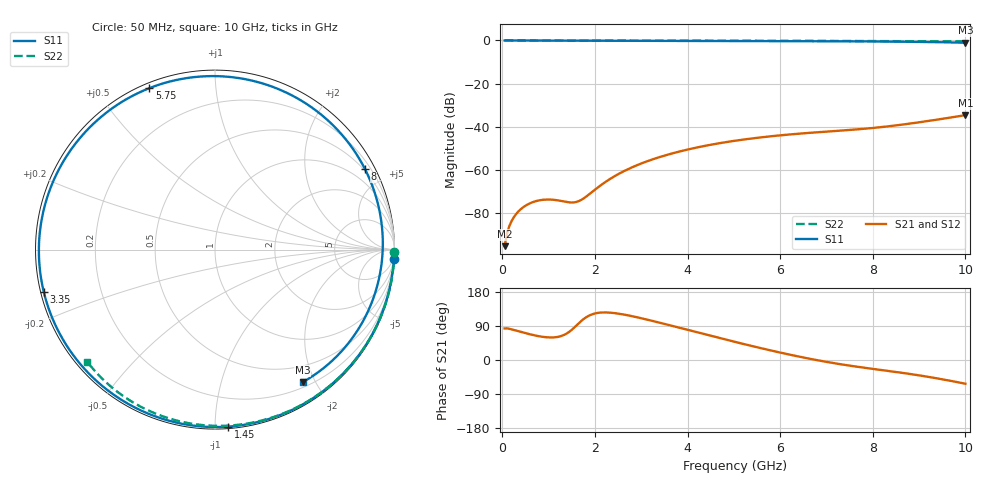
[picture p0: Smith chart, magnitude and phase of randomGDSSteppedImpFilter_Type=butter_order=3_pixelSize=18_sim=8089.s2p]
! freq	dB(S11)	phase(S11)	dB(S12)	phase(S12)
!  dB(S21)	phase(S21)	dB(S22)	phase(S22)
!S-par simulation data
#  GHz  S  DB  R 50
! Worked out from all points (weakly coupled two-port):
!   200 points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, 50 MHz to 10 GHz, reference 50 ohm
!   highest |S21| = -34.66 dB at 10 GHz (marker M1); lowest = -95.5 dB at 50 MHz (marker M2)
!   lowest |S11| = -1.1 dB at 10 GHz (marker M3), VSWR 16.46, Z = 13.4 - j91.4 ohm
!   |S11| at or under -10 dB: nowhere
!   |S22| runs from -0.5 to 0.0 dB; largest |S21 - S12| = 0
!   S11 on the Smith chart (normalised r, x): 50 MHz: 1, -37; 1.45 GHz: 0.01, -1.08; 3.35 GHz: 0.01, -0.12; 5.75 GHz: 0.02, +0.67; 8 GHz: 0.44, +3.94; 10 GHz: 0.27, -1.83
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0.05  -0.01 -3.1  -95.47 83.4  -95.47 83.4  -0.00 -0.8
0.3  -0.04 -19.0  -80.52 77.6  -80.52 77.6  -0.01 -4.8
0.55  -0.05 -34.6  -76.08 69.3  -76.08 69.3  -0.01 -8.8
0.8  -0.06 -49.7  -74.20 62.5  -74.20 62.5  -0.02 -12.8
1.1  -0.08 -66.9  -73.93 59.6  -73.93 59.6  -0.02 -17.5
1.45  -0.10 -85.7  -75.15 74.7  -75.15 74.7  -0.03 -23.0
1.75  -0.11 -100.6  -73.39 107.5  -73.39 107.5  -0.04 -27.7
2.55  -0.13 -135.8  -61.51 121.5  -61.51 121.5  -0.05 -39.9
3.35  -0.15 -166.1  -54.45 99.9  -54.45 99.9  -0.07 -51.9
3.4  -0.15 -167.9  -54.11 98.4  -54.11 98.4  -0.07 -52.6
4.2  -0.18 164.4  -49.69 73.3  -49.69 73.3  -0.09 -64.2
5.05  -0.22 135.9  -46.47 47.0  -46.47 47.0  -0.12 -76.1
5.75  -0.26 112.1  -44.58 26.5  -44.58 26.5  -0.14 -85.5
6.25  -0.29 94.5  -43.55 13.0  -43.55 13.0  -0.17 -92.1
6.7  -0.32 78.2  -42.77 1.8  -42.77 1.8  -0.19 -98.0
7.35  -0.38 53.8  -41.78 -12.1  -41.78 -12.1  -0.23 -106.2
8  -0.46 28.2  -40.62 -23.4  -40.62 -23.4  -0.28 -114.3
8.35  -0.52 14.0  -39.82 -29.1  -39.82 -29.1  -0.30 -118.6
8.75  -0.60 -2.5  -38.74 -35.9  -38.74 -35.9  -0.34 -123.5
9.15  -0.71 -19.4  -37.52 -43.5  -37.52 -43.5  -0.38 -128.4
9.55  -0.85 -36.6  -36.22 -52.0  -36.22 -52.0  -0.42 -133.2
10  -1.06 -56.6  -34.66 -62.7  -34.66 -62.7  -0.47 -138.6
